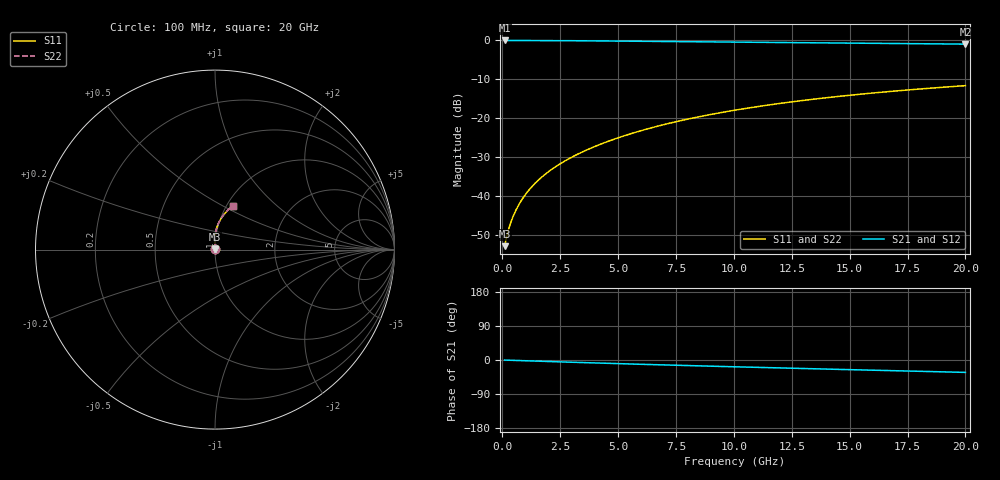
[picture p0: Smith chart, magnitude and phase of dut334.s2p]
! Touchstone file exported from HFSS 2024.1.0
!  File:  C:/UserFiles/LocalFiles/RDL_TSV_Batchsim/temp_RDL_top_334_1779607496.aedt
!  Generated:  03:27:07 PM May 24, 2026
!  Design:  RDL_top
!  Project:  temp_RDL_top_334_1779607496
!  Setup:  Setup1
!  Solution:  Sweep
! Variables:
!  dtsv = 10.80580581um
!  hbump = 3um
!  htsv = 61.36um
!  ldown = 100um
!  lrdl = 494.07um
!  p = 40
!  p1 = 46.95um
!  rhole = 1um
!  t = 450um
!  tdown = 3.915915916um
!  trdl = 3.97um
!  wdown = 15.38538539um
!  wrdl = 26.16um
# GHz S MA R 50.000000
! Terminal data exported
! Port[1] = Box2_T1
! Port[2] = Box2_T2
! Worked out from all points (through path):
!   200 points, 100 MHz to 20 GHz, reference 50 ohm
!   highest |S21| = -0.02 dB at 100 MHz (marker M1); lowest = -1.0 dB at 20 GHz (marker M2)
!   group delay of S21, straight-line fit = 4.47 ps
!   lowest |S11| = -52.9 dB at 100 MHz (marker M3), VSWR 1.00, Z = 50.2 + j0.121 ohm
!   |S11| at or under -10 dB: start of sweep to end of sweep
!   |S22| runs from -52.9 to -11.6 dB; largest |S21 - S12| = 5.3e-15
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0.1  0.002261 32.3  0.9981 -0.2  0.9981 -0.2  0.002261 32.3
! Gamma 0 0 0 0
! Port Impedance 50 0 50 0
0.2  0.003092 48.4  0.9979 -0.4  0.9979 -0.4  0.003092 48.4
0.3  0.003976 56.9  0.9977 -0.6  0.9977 -0.6  0.003976 56.9
0.4  0.004861 62.5  0.9976 -0.8  0.9976 -0.8  0.004861 62.5
0.5  0.005756 66.6  0.9974 -1.0  0.9974 -1.0  0.005755 66.6
0.6  0.006664 69.8  0.9973 -1.2  0.9973 -1.2  0.006664 69.8
0.8  0.008527 74.5  0.997 -1.6  0.997 -1.6  0.008527 74.5
1  0.01044 77.8  0.9966 -2.0  0.9966 -2.0  0.01044 77.8
1.2  0.0124 80.2  0.9962 -2.4  0.9962 -2.4  0.0124 80.2
1.7  0.01744 84.1  0.995 -3.4  0.995 -3.4  0.01744 84.1
2.2  0.02269 86.5  0.9934 -4.4  0.9934 -4.4  0.02269 86.5
2.8  0.02925 88.3  0.9911 -5.5  0.9911 -5.5  0.02926 88.3
3.5  0.03729 89.6  0.9879 -6.9  0.9879 -6.9  0.0373 89.6
4.2  0.04575 90.2  0.9844 -8.2  0.9844 -8.2  0.04576 90.3
5  0.05588 90.4  0.9799 -9.6  0.9799 -9.6  0.05591 90.5
6.8  0.08018 89.4  0.9692 -12.7  0.9692 -12.7  0.08023 89.5
8.4  0.1029 87.4  0.9596 -15.3  0.9596 -15.3  0.103 87.5
10.1  0.1275 84.8  0.9496 -18.0  0.9496 -18.0  0.1276 84.9
11.7  0.1506 82.1  0.9404 -20.5  0.9404 -20.5  0.1508 82.1
13.4  0.1748 79.1  0.9309 -23.1  0.9309 -23.1  0.175 79.1
16.7  0.2199 73.3  0.913 -28.0  0.913 -28.0  0.2201 73.3
20  0.2619 67.7  0.8954 -32.7  0.8954 -32.7  0.2621 67.8
